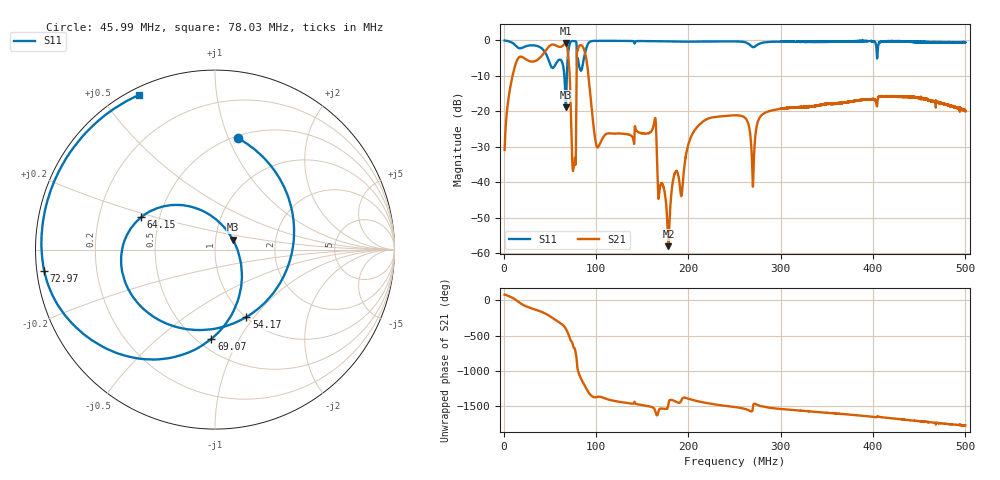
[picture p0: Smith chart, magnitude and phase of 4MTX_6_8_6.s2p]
! NanoVNA-App
! Date: 2026-08-18 21:51:10
! Start: 1MHz Stop: 500MHz Points: 6401
! S-Parameter data: F S11 S21 S12 S22
# Hz S RI R 50
!  Frequency  S11_Real  S11_Imag  S21_Real  S21_Imag  S12_Real  S12_Imag  S22_Real  S22_Imag
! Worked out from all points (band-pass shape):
!   6401 points, 1 MHz to 500 MHz, reference 50 ohm
!   highest |S21| = -0.89 dB at 66.96 MHz (marker M1); lowest = -58.0 dB at 178.5 MHz (marker M2)
!   |S21| within 3 dB of the highest: 42.86 MHz to 69.7 MHz (26.84 MHz wide, 47.7 % of centre); 79.26 MHz to 88.43 MHz (9.175 MHz wide, 10.9 % of centre)
!   lowest |S11| = -18.9 dB at 67.27 MHz (marker M3), VSWR 1.26, Z = 60.6 + j6.81 ohm
!   |S11| at or under -10 dB: 65.67 MHz to 68.37 MHz (2.705 MHz wide, 4.04 % of centre)
!   S12 and S22 are empty: the file has one direction only
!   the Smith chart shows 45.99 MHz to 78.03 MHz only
!   S11 on the Smith chart (normalised r, x): 45.99 MHz: 0.52, +1.08; 54.17 MHz: 1.01, -0.91; 64.15 MHz: 0.39, +0.18; 69.07 MHz: 0.58, -0.77; 72.97 MHz: 0.02, -0.06; 78.03 MHz: 0.03, +0.62
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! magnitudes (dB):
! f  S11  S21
! 1 MHz  -0.1  -30.9
! 14.49 MHz  -1.9  -5.6
! 45.99 MHz  -4.0  -2.8
! 54.17 MHz  -7.7  -1.3
! 64.15 MHz  -7.0  -1.6
! 66.96 MHz  -17.4  -0.9
! 67.27 MHz  -18.9  -0.9
! 69.07 MHz  -6.1  -2.5
! 72.97 MHz  -0.4  -22.7
! 75.85 MHz  -0.2  -35.6
! 78.03 MHz  -0.4  -34.0
! 84.19 MHz  -8.5  -1.4
! 101.3 MHz  -0.2  -30.2
! 162.7 MHz  -0.3  -23.6
! 167.4 MHz  -0.3  -44.0
! 178.5 MHz  -0.3  -58.0
! 206 MHz  -0.4  -25.7
! 250.5 MHz  -0.4  -21.2
! 269.9 MHz  -2.0  -41.2
! 333.7 MHz  -0.5  -18.7
! 416.9 MHz  -0.3  -15.7
! 500 MHz  -0.7  -20.0
